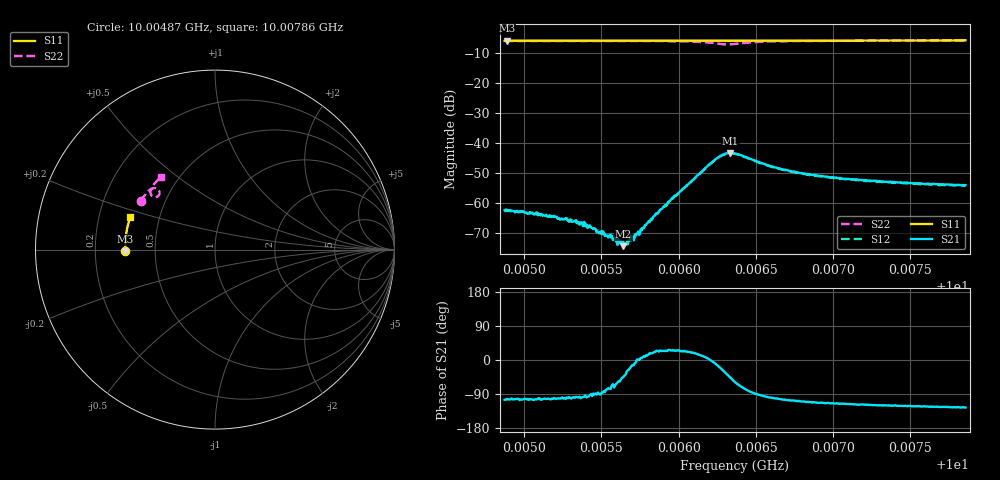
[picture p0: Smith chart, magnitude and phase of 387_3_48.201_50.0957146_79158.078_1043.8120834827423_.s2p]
#  HZ  S  RI  R  50.00
! Rohde & Schwarz Vector Network Analyzer
! Rohde-Schwarz,ZNB20-2Port,1311601062101988,3.16
! Created: UTC 3/20/2024, 11:53:22 AM
! freq[Hz]  re:S11  im:S11  re:S21  im:S21  re:S12  im:S12  re:S22  im:S22
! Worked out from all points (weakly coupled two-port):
!   401 points, 10.00487 GHz to 10.00786 GHz, reference 50 ohm
!   highest |S21| = -43.29 dB at 10.00634 GHz (marker M1); lowest = -74.3 dB at 10.00564 GHz (marker M2)
!   lowest |S11| = -6.0 dB at 10.00489 GHz (marker M3), VSWR 2.99, Z = 16.7 - j0.427 ohm
!   |S11| at or under -10 dB: nowhere
!   |S22| runs from -7.2 to -6.0 dB; largest |S21 - S12| = 0.00042
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1.0004872e10  -0.4993 -0.0105  -0.000197 -0.000736  -0.000126 -0.000737  -0.4137 0.2701
1.0004887e10  -0.4992 -0.00961  -0.000172 -0.000759  -0.00016 -0.000753  -0.4133 0.2709
1.0005126e10  -0.4998 0.00598  -0.000136 -0.000615  -0.000125 -0.000632  -0.4045 0.285
1.0005313e10  -0.4998 0.0181  -7.39e-05 -0.000487  -5.47e-05 -0.00049  -0.3971 0.2961
1.0005373e10  -0.4998 0.0221  -7.47e-05 -0.000476  -7.35e-06 -0.000436  -0.3946 0.2996
1.0005425e10  -0.4997 0.0255  -1.96e-05 -0.000427  8.49e-07 -0.000411  -0.3924 0.3026
1.0005484e10  -0.4998 0.0292  2.59e-06 -0.000315  3.66e-05 -0.000327  -0.3896 0.3064
1.0005559e10  -0.4997 0.0341  6.86e-05 -0.000292  9.77e-05 -0.00025  -0.386 0.311
1.0005611e10  -0.4995 0.0374  0.000139 -0.000203  0.000132 -0.00017  -0.3835 0.3142
1.0005641e10  -0.4993 0.0393  0.000137 -0.000136  0.000196 -0.000124  -0.3818 0.3162
1.0005656e10  -0.4993 0.0404  0.000158 -0.000127  0.000174 -0.000149  -0.3811 0.317
1.0005679e10  -0.4991 0.0418  0.000213 -9.84e-05  0.000222 -9.94e-05  -0.3797 0.3183
1.0005716e10  -0.4991 0.0442  0.00027 -3.94e-05  0.000293 1.06e-05  -0.3775 0.3207
1.0005873e10  -0.4984 0.0545  0.000679 0.000277  0.000659 0.000305  -0.3669 0.3309
1.0006223e10  -0.4957 0.0769  0.00496 -0.000442  0.00487 -0.000186  -0.3138 0.3316
1.0006283e10  -0.4949 0.0807  0.00573 -0.00277  0.00574 -0.00239  -0.3095 0.3107
1.0006335e10  -0.4946 0.0836  0.00469 -0.00499  0.00483 -0.00466  -0.3223 0.2946
1.0006365e10  -0.4945 0.0855  0.00352 -0.00572  0.00377 -0.00538  -0.333 0.2919
1.0006612e10  -0.4926 0.1012  -0.000716 -0.00399  -0.000533 -0.00389  -0.3591 0.3295
1.0006865e10  -0.4895 0.1174  -0.00113 -0.00273  -0.000935 -0.00274  -0.3483 0.3533
1.0007366e10  -0.4819 0.1487  -0.00115 -0.00195  -0.000993 -0.00195  -0.3232 0.3827
1.0007858e10  -0.4725 0.1791  -0.00116 -0.00162  -0.00105 -0.00165  -0.2981 0.4055
